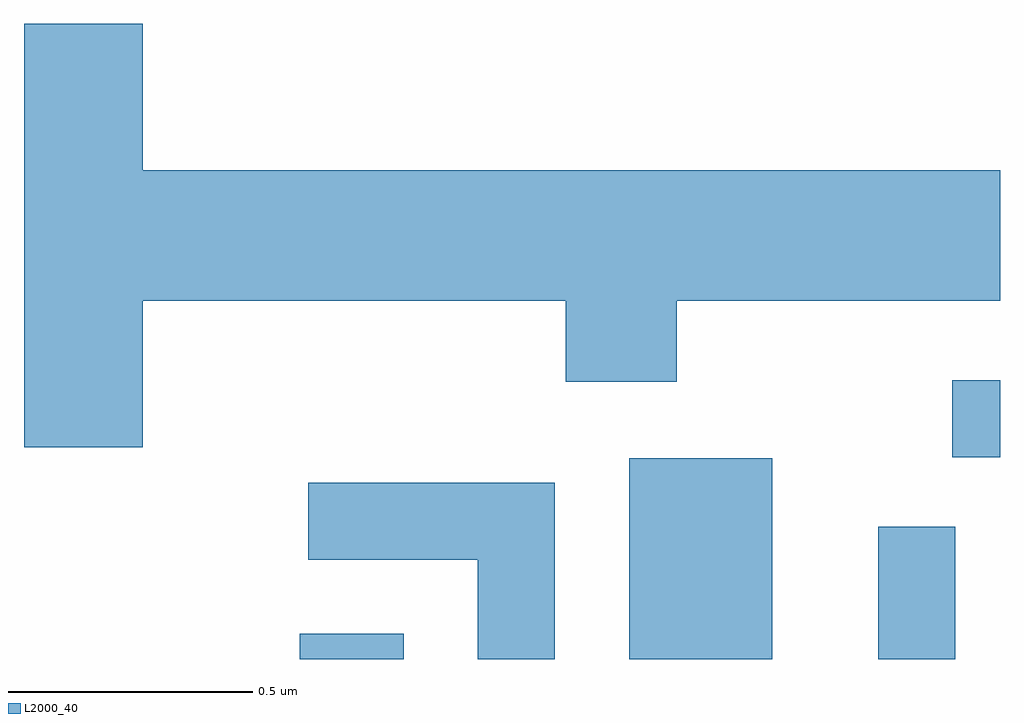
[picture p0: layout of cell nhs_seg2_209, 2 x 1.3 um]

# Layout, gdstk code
import gdstk
lib = gdstk.Library(unit=1e-6, precision=1e-09)
def R(c, l, rs):  # rectangles x0, y0, x1, y1
    for r in rs: c.add(gdstk.rectangle(r[:2], r[2:], *l))
def P(c, l, *ps):  # polygons
    for p in ps: c.add(gdstk.Polygon(p, *l))
L2000_40 = (2000, 40)

nhs_seg2_209 = lib.new_cell('nhs_seg2_209')
R(nhs_seg2_209, L2000_40, [(187.176,1049.802,187.389,1049.854), (187.851,1049.802,188.144,1050.214), (188.361,1049.802,188.519,1050.073), (188.513,1050.216,188.611,1050.374)])
P(nhs_seg2_209, L2000_40, [(186.854,1050.536),(187.721,1050.536),(187.721,1050.371),(187.949,1050.371),(187.949,1050.536),(188.611,1050.536),(188.611,1050.804),(186.854,1050.804),(186.854,1051.104),(186.611,1051.104),(186.611,1050.236),(186.854,1050.236)],
  [(187.699,1050.164),(187.193,1050.164),(187.193,1050.006),(187.541,1050.006),(187.541,1049.802),(187.699,1049.802)])

lib.write_gds('nhs_seg2_209.gds')
